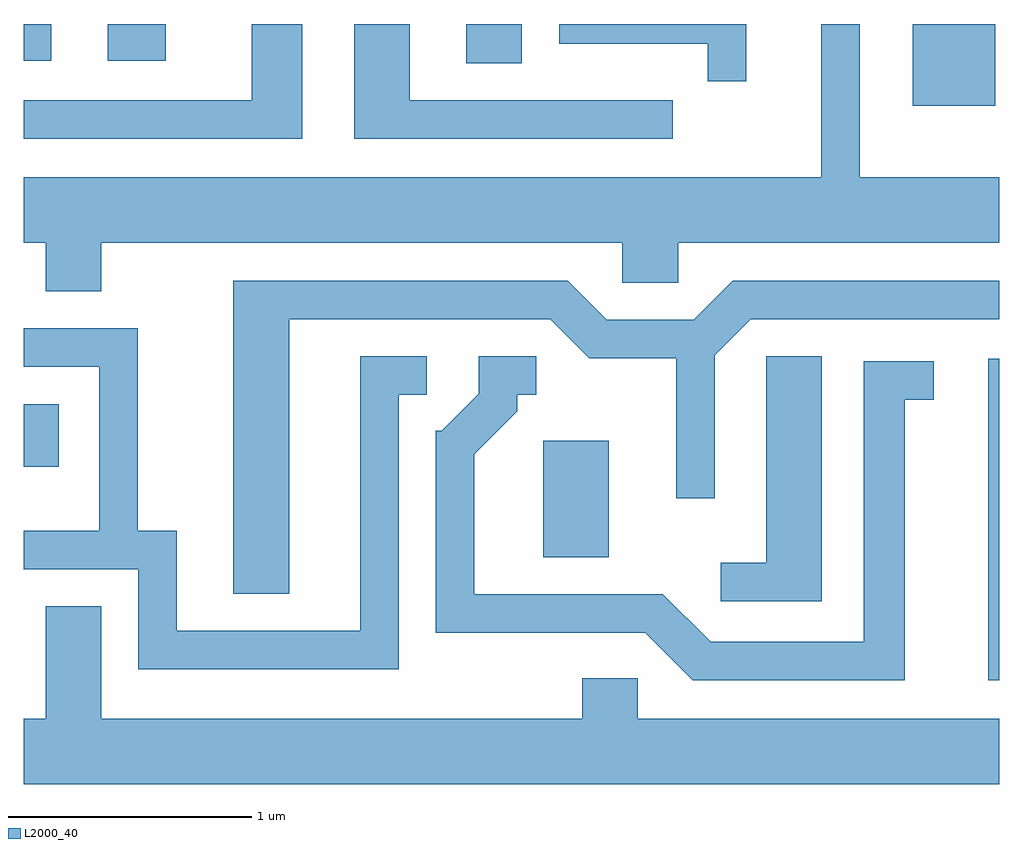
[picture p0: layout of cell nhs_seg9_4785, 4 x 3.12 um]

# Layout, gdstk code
import gdstk
lib = gdstk.Library(unit=1e-6, precision=1e-09)
def R(c, l, rs):  # rectangles x0, y0, x1, y1
    for r in rs: c.add(gdstk.rectangle(r[:2], r[2:], *l))
def P(c, l, *ps):  # polygons
    for p in ps: c.add(gdstk.Polygon(p, *l))
L2000_40 = (2000, 40)

nhs_seg9_4785 = lib.new_cell('nhs_seg9_4785')
R(nhs_seg9_4785, L2000_40, [(329.566,2047.741,329.611,2049.059), (327.741,2048.246,328.009,2048.724), (325.611,2048.616,325.754,2048.874), (329.256,2050.096,329.594,2050.432), (327.426,2050.271,327.654,2050.432), (325.611,2050.281,325.724,2050.432), (325.956,2050.281,326.193,2050.432)])
P(nhs_seg9_4785, L2000_40, [(325.929,2049.536),(328.066,2049.536),(328.066,2049.371),(328.294,2049.371),(328.294,2049.536),(329.611,2049.536),(329.611,2049.804),(329.039,2049.804),(329.039,2050.432),(328.881,2050.432),(328.881,2049.804),(325.611,2049.804),(325.611,2049.536),(325.701,2049.536),(325.701,2049.336),(325.929,2049.336)],
  [(328.574,2050.432),(327.806,2050.432),(327.806,2050.351),(328.416,2050.351),(328.416,2050.198),(328.574,2050.198)],
  [(326.754,2050.432),(326.546,2050.432),(326.546,2050.119),(325.611,2050.119),(325.611,2049.961),(326.754,2049.961)],
  [(328.273,2050.119),(327.194,2050.119),(327.194,2050.432),(326.966,2050.432),(326.966,2049.961),(328.273,2049.961)],
  [(326.699,2049.221),(327.769,2049.221),(327.929,2049.061),(328.286,2049.061),(328.286,2048.488),(328.444,2048.488),(328.444,2049.074),(328.592,2049.221),(329.611,2049.221),(329.611,2049.379),(328.519,2049.379),(328.359,2049.219),(328.002,2049.219),(327.842,2049.379),(326.471,2049.379),(326.471,2048.096),(326.699,2048.096)],
  [(327.149,2048.911),(327.263,2048.911),(327.263,2049.069),(326.991,2049.069),(326.991,2047.944),(326.239,2047.944),(326.239,2048.354),(326.079,2048.354),(326.079,2049.184),(325.611,2049.184),(325.611,2049.026),(325.921,2049.026),(325.921,2048.354),(325.611,2048.354),(325.611,2048.196),(326.081,2048.196),(326.081,2047.786),(327.149,2047.786)],
  [(329.224,2048.891),(329.343,2048.891),(329.343,2049.049),(329.056,2049.049),(329.056,2047.899),(328.427,2047.899),(328.232,2048.094),(327.459,2048.094),(327.459,2048.669),(327.634,2048.844),(327.634,2048.911),(327.713,2048.911),(327.713,2049.069),(327.476,2049.069),(327.476,2048.917),(327.324,2048.764),(327.301,2048.764),(327.301,2047.936),(328.159,2047.936),(328.354,2047.741),(329.224,2047.741)],
  [(328.884,2049.069),(328.656,2049.069),(328.656,2048.224),(328.468,2048.224),(328.468,2048.066),(328.884,2048.066)],
  [(329.611,2047.584),(328.129,2047.584),(328.129,2047.749),(327.901,2047.749),(327.901,2047.584),(325.929,2047.584),(325.929,2048.044),(325.701,2048.044),(325.701,2047.584),(325.611,2047.584),(325.611,2047.316),(329.611,2047.316)])

lib.write_gds('nhs_seg9_4785.gds')
